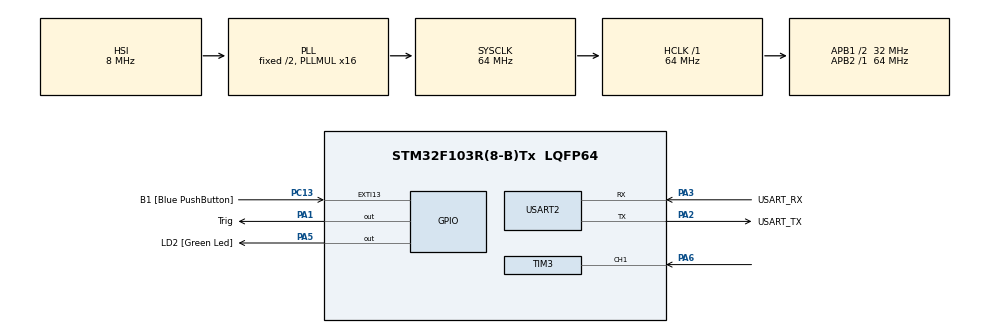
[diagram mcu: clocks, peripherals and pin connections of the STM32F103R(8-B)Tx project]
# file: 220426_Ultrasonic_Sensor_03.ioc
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Mcu.Family=STM32F1
Mcu.Name=STM32F103R(8-B)Tx
Mcu.Package=LQFP64
NVIC.EXTI15_10_IRQn=true\:0\:0\:false\:false\:true\:true\:true\:true
NVIC.PriorityGroup=NVIC_PRIORITYGROUP_4
NVIC.TIM2_IRQn=true\:0\:0\:false\:false\:true\:true\:true\:true
NVIC.TIM3_IRQn=true\:0\:0\:false\:false\:true\:true\:true\:true
PA1.GPIO_Label=Trig
PA1.Signal=GPIO_Output
PA13.GPIO_Label=TMS
PA13.Mode=Serial_Wire
PA13.Signal=SYS_JTMS-SWDIO
PA14.GPIO_Label=TCK
PA14.Mode=Serial_Wire
PA14.Signal=SYS_JTCK-SWCLK
PA2.GPIO_Label=USART_TX
PA2.GPIO_Mode=GPIO_MODE_AF_PP
PA2.GPIO_PuPd=GPIO_NOPULL
PA2.GPIO_Speed=GPIO_SPEED_FREQ_LOW
PA2.Mode=Asynchronous
PA2.Signal=USART2_TX
PA3.GPIO_Label=USART_RX
PA3.GPIO_Mode=GPIO_MODE_AF_PP
PA3.GPIO_PuPd=GPIO_NOPULL
PA3.GPIO_Speed=GPIO_SPEED_FREQ_LOW
PA3.Mode=Asynchronous
PA3.Signal=USART2_RX
PA5.GPIO_Label=LD2 [Green Led]
PA5.GPIO_ModeDefaultOutputPP=GPIO_MODE_OUTPUT_PP
PA5.GPIO_PuPd=GPIO_NOPULL
PA5.GPIO_Speed=GPIO_SPEED_FREQ_LOW
PA5.Signal=GPIO_Output
PA6.Signal=S_TIM3_CH1
PB3.GPIO_Label=SWO
PB3.Signal=SYS_JTDO-TRACESWO
PC13-TAMPER-RTC.GPIO_Label=B1 [Blue PushButton]
PC13-TAMPER-RTC.GPIO_PuPd=GPIO_NOPULL
PC13-TAMPER-RTC.Signal=GPXTI13
PC14-OSC32_IN.Mode=LSE-External-Oscillator
PC14-OSC32_IN.Signal=RCC_OSC32_IN
PC15-OSC32_OUT.Mode=LSE-External-Oscillator
PC15-OSC32_OUT.Signal=RCC_OSC32_OUT
PD0-OSC_IN.Mode=HSE-External-Clock-Source
PD0-OSC_IN.Signal=RCC_OSC_IN
PD1-OSC_OUT.Mode=HSE-External-Clock-Source
PD1-OSC_OUT.Signal=RCC_OSC_OUT
ProjectManager.HeapSize=0x200
ProjectManager.StackSize=0x400
ProjectManager.TargetToolchain=STM32CubeIDE
RCC.AHBFreq_Value=64000000
RCC.APB1CLKDivider=RCC_HCLK_DIV2
RCC.APB1Freq_Value=32000000
RCC.APB1TimFreq_Value=64000000
RCC.APB2Freq_Value=64000000
RCC.APB2TimFreq_Value=64000000
RCC.HCLKFreq_Value=64000000
RCC.PLLMUL=RCC_PLL_MUL16
RCC.RTCClockSelection=RCC_RTCCLKSOURCE_LSE
RCC.SYSCLKFreq_VALUE=64000000
RCC.SYSCLKSource=RCC_SYSCLKSOURCE_PLLCLK
RCC.USBFreq_Value=64000000
SH.S_TIM3_CH1.0=TIM3_CH1,Input_Capture1_from_TI1
TIM2.Prescaler=64-1
TIM3.Channel-Input_Capture1_from_TI1=TIM_CHANNEL_1
TIM3.Prescaler=64-1
USART2.VirtualMode=VM_ASYNC
VP_TIM2_VS_ClockSourceINT.Mode=Internal
VP_TIM3_VS_ClockSourceINT.Mode=Internal
board=NUCLEO-F103RB

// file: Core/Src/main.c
/* USER CODE BEGIN Header */
/**
  ******************************************************************************
  * @file           : main.c
  * @brief          : Main program body
  ******************************************************************************
  * @attention
  *
  * Copyright (c) 2022 STMicroelectronics.
  * All rights reserved.
  *
  * This software is licensed under terms that can be found in the LICENSE file
  * in the root directory of this software component.
  * If no LICENSE file comes with this software, it is provided AS-IS.
  *
  ******************************************************************************
  */
/* USER CODE END Header */
#include "main.h"

 TIM_HandleTypeDef htim2;
TIM_HandleTypeDef htim3;

UART_HandleTypeDef huart2;

/* USER CODE BEGIN PV */
uint32_t IC1, IC2, ic;
int captureFlag=0;
float dis;
/* USER CODE END PV */

void SystemClock_Config(void);
static void MX_GPIO_Init(void);
static void MX_USART2_UART_Init(void);
static void MX_TIM2_Init(void);
static void MX_TIM3_Init(void);
/* USER CODE BEGIN PFP */
#ifdef __GNUC__
/* With GCC, small printf (option LD Linker->Libraries->Small printf
 set to 'Yes') calls __io_putchar() */
#define PUTCHAR_PROTOTYPE int __io_putchar(int ch)
#else
#define PUTCHAR_PROTOTYPE int fputc(int ch, FILE *f)
#endif /* __GNUC__ */
PUTCHAR_PROTOTYPE {
	/* Place your implementation of fputc here */
	/* e.g. write a character to the USART1 and Loop until the end of transmission */
	HAL_UART_Transmit(&huart2, (uint8_t*) &ch, 1, 0xFFFF);

	return ch;
}
/* USER CODE END PFP */

/* USER CODE BEGIN 0 */
void delay_us(uint16_t delay){ //make ms -> us function
	//__HAL_TIM_SET_COUNTER(&htim3, 0);
	TIM3->CNT = 0;
	//while(__HAL_TIM_GET_COUNTER(&htim3) < delay);
	while(TIM3->CNT < delay);
}
/* USER CODE END 0 */

int main(void)
{

  /* MCU Configuration--------------------------------------------------------*/

  /* Reset of all peripherals, Initializes the Flash interface and the Systick. */
  HAL_Init();

  /* Configure the system clock */
  SystemClock_Config();

  /* Initialize all configured peripherals */
  MX_GPIO_Init();
  MX_USART2_UART_Init();
  MX_TIM2_Init();
  MX_TIM3_Init();
  /* USER CODE BEGIN 2 */
  //HAL_Delay(1000); //ms
  HAL_TIM_IC_Start_IT(&htim3, TIM_CHANNEL_1);
  HAL_TIM_Base_Start(&htim2);
  /* USER CODE END 2 */

  /* Infinite loop */
  /* USER CODE BEGIN WHILE */
  while (1)
  {
	  HAL_GPIO_WritePin(GPIOA, Trig_Pin, GPIO_PIN_SET);
	  delay_us(10);
	  HAL_GPIO_WritePin(GPIOA, Trig_Pin, GPIO_PIN_RESET);

	  HAL_Delay(500);
	  printf("distance : %.2fcm\n\r", dis);
    /* USER CODE END WHILE */

  }
}

void SystemClock_Config(void)
{
  RCC_OscInitTypeDef RCC_OscInitStruct = {0};
  RCC_ClkInitTypeDef RCC_ClkInitStruct = {0};

  /** Initializes the RCC Oscillators according to the specified parameters
  * in the RCC_OscInitTypeDef structure.
  */
  RCC_OscInitStruct.OscillatorType = RCC_OSCILLATORTYPE_HSI;
  RCC_OscInitStruct.HSIState = RCC_HSI_ON;
  RCC_OscInitStruct.HSICalibrationValue = RCC_HSICALIBRATION_DEFAULT;
  RCC_OscInitStruct.PLL.PLLState = RCC_PLL_ON;
  RCC_OscInitStruct.PLL.PLLSource = RCC_PLLSOURCE_HSI_DIV2;
  RCC_OscInitStruct.PLL.PLLMUL = RCC_PLL_MUL16;
  if (HAL_RCC_OscConfig(&RCC_OscInitStruct) != HAL_OK)
  {
    Error_Handler();
  }

  /** Initializes the CPU, AHB and APB buses clocks
  */
  RCC_ClkInitStruct.ClockType = RCC_CLOCKTYPE_HCLK|RCC_CLOCKTYPE_SYSCLK
                              |RCC_CLOCKTYPE_PCLK1|RCC_CLOCKTYPE_PCLK2;
  RCC_ClkInitStruct.SYSCLKSource = RCC_SYSCLKSOURCE_PLLCLK;
  RCC_ClkInitStruct.AHBCLKDivider = RCC_SYSCLK_DIV1;
  RCC_ClkInitStruct.APB1CLKDivider = RCC_HCLK_DIV2;
  RCC_ClkInitStruct.APB2CLKDivider = RCC_HCLK_DIV1;

  if (HAL_RCC_ClockConfig(&RCC_ClkInitStruct, FLASH_LATENCY_2) != HAL_OK)
  {
    Error_Handler();
  }
}

static void MX_TIM2_Init(void)
{

  TIM_ClockConfigTypeDef sClockSourceConfig = {0};
  TIM_MasterConfigTypeDef sMasterConfig = {0};

  htim2.Instance = TIM2;
  htim2.Init.Prescaler = 64-1;
  htim2.Init.CounterMode = TIM_COUNTERMODE_UP;
  htim2.Init.Period = 65535;
  htim2.Init.ClockDivision = TIM_CLOCKDIVISION_DIV1;
  htim2.Init.AutoReloadPreload = TIM_AUTORELOAD_PRELOAD_DISABLE;
  if (HAL_TIM_Base_Init(&htim2) != HAL_OK)
  {
    Error_Handler();
  }
  sClockSourceConfig.ClockSource = TIM_CLOCKSOURCE_INTERNAL;
  if (HAL_TIM_ConfigClockSource(&htim2, &sClockSourceConfig) != HAL_OK)
  {
    Error_Handler();
  }
  sMasterConfig.MasterOutputTrigger = TIM_TRGO_RESET;
  sMasterConfig.MasterSlaveMode = TIM_MASTERSLAVEMODE_DISABLE;
  if (HAL_TIMEx_MasterConfigSynchronization(&htim2, &sMasterConfig) != HAL_OK)
  {
    Error_Handler();
  }

}

static void MX_TIM3_Init(void)
{

  TIM_ClockConfigTypeDef sClockSourceConfig = {0};
  TIM_MasterConfigTypeDef sMasterConfig = {0};
  TIM_IC_InitTypeDef sConfigIC = {0};

  htim3.Instance = TIM3;
  htim3.Init.Prescaler = 64-1;
  htim3.Init.CounterMode = TIM_COUNTERMODE_UP;
  htim3.Init.Period = 65535;
  htim3.Init.ClockDivision = TIM_CLOCKDIVISION_DIV1;
  htim3.Init.AutoReloadPreload = TIM_AUTORELOAD_PRELOAD_DISABLE;
  if (HAL_TIM_Base_Init(&htim3) != HAL_OK)
  {
    Error_Handler();
  }
  sClockSourceConfig.ClockSource = TIM_CLOCKSOURCE_INTERNAL;
  if (HAL_TIM_ConfigClockSource(&htim3, &sClockSourceConfig) != HAL_OK)
  {
    Error_Handler();
  }
  if (HAL_TIM_IC_Init(&htim3) != HAL_OK)
  {
    Error_Handler();
  }
  sMasterConfig.MasterOutputTrigger = TIM_TRGO_RESET;
  sMasterConfig.MasterSlaveMode = TIM_MASTERSLAVEMODE_DISABLE;
  if (HAL_TIMEx_MasterConfigSynchronization(&htim3, &sMasterConfig) != HAL_OK)
  {
    Error_Handler();
  }
  sConfigIC.ICPolarity = TIM_INPUTCHANNELPOLARITY_RISING;
  sConfigIC.ICSelection = TIM_ICSELECTION_DIRECTTI;
  sConfigIC.ICPrescaler = TIM_ICPSC_DIV1;
  sConfigIC.ICFilter = 0;
  if (HAL_TIM_IC_ConfigChannel(&htim3, &sConfigIC, TIM_CHANNEL_1) != HAL_OK)
  {
    Error_Handler();
  }

}

static void MX_USART2_UART_Init(void)
{

  huart2.Instance = USART2;
  huart2.Init.BaudRate = 115200;
  huart2.Init.WordLength = UART_WORDLENGTH_8B;
  huart2.Init.StopBits = UART_STOPBITS_1;
  huart2.Init.Parity = UART_PARITY_NONE;
  huart2.Init.Mode = UART_MODE_TX_RX;
  huart2.Init.HwFlowCtl = UART_HWCONTROL_NONE;
  huart2.Init.OverSampling = UART_OVERSAMPLING_16;
  if (HAL_UART_Init(&huart2) != HAL_OK)
  {
    Error_Handler();
  }

}

static void MX_GPIO_Init(void)
{
  GPIO_InitTypeDef GPIO_InitStruct = {0};

  /* GPIO Ports Clock Enable */
  __HAL_RCC_GPIOC_CLK_ENABLE();
  __HAL_RCC_GPIOD_CLK_ENABLE();
  __HAL_RCC_GPIOA_CLK_ENABLE();
  __HAL_RCC_GPIOB_CLK_ENABLE();

  /*Configure GPIO pin Output Level */
  HAL_GPIO_WritePin(GPIOA, Trig_Pin|LD2_Pin, GPIO_PIN_RESET);

  /*Configure GPIO pin : B1_Pin */
  GPIO_InitStruct.Pin = B1_Pin;
  GPIO_InitStruct.Mode = GPIO_MODE_IT_RISING;
  GPIO_InitStruct.Pull = GPIO_NOPULL;
  HAL_GPIO_Init(B1_GPIO_Port, &GPIO_InitStruct);

  /*Configure GPIO pins : Trig_Pin LD2_Pin */
  GPIO_InitStruct.Pin = Trig_Pin|LD2_Pin;
  GPIO_InitStruct.Mode = GPIO_MODE_OUTPUT_PP;
  GPIO_InitStruct.Pull = GPIO_NOPULL;
  GPIO_InitStruct.Speed = GPIO_SPEED_FREQ_LOW;
  HAL_GPIO_Init(GPIOA, &GPIO_InitStruct);

  /* EXTI interrupt init*/
  HAL_NVIC_SetPriority(EXTI15_10_IRQn, 0, 0);
  HAL_NVIC_EnableIRQ(EXTI15_10_IRQn);

}

/* USER CODE BEGIN 4 */
void HAL_TIM_IC_CaptureCallback(TIM_HandleTypeDef *htim) {
	if (htim->Channel == HAL_TIM_ACTIVE_CHANNEL_1) { //if channel is '1'
		if (captureFlag == 0) {
			IC1 = HAL_TIM_ReadCapturedValue(&htim3, TIM_CHANNEL_1);
			//IC1 = TIM2->CCR1;

			captureFlag = 1;
			__HAL_TIM_SET_CAPTUREPOLARITY(&htim3, TIM_CHANNEL_1, TIM_INPUTCHANNELPOLARITY_FALLING);

			//printf("cap!\n\r");
		}

		else if (captureFlag == 1) {
			IC2 = HAL_TIM_ReadCapturedValue(&htim3, TIM_CHANNEL_1);
			//IC2 = TIM2->CCR1;
			captureFlag = 0;
			if(IC2>IC1){
				ic = IC2 - IC1;
			}
			else{
				ic = (0xFFFF-IC1) + IC2; //uint32_t max = 0xFFFF
			}
			//freq = 1 / (ic * 0.000001); //IC1, IC2 parameters are frequency?
			//freq = 1 / ((IC2 - IC1) * psr/clk);
			dis = (ic*0.034)/2;

			__HAL_TIM_SET_COUNTER(&htim3, 0); // set counter(=CNT) 0
			__HAL_TIM_SET_CAPTUREPOLARITY(&htim3, TIM_CHANNEL_1, TIM_INPUTCHANNELPOLARITY_RISING);
			//TIM3->CCER &= ~(1<< 1);

			//printf("ic1 : %u, ic2 : %u\n\r", IC1, IC2);
			printf("t_us : %u\n\r", ic);
		}
	}
}
/* USER CODE END 4 */

void Error_Handler(void)
{
  __disable_irq();
  while (1)
  {
  }
}
